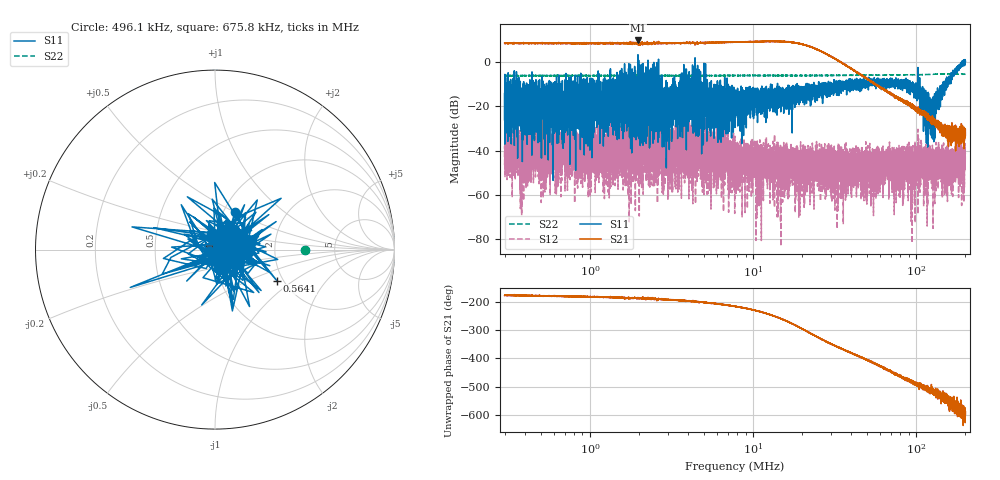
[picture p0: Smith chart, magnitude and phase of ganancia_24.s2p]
# Hz S DB R 50
! CMT, M5065, 19127446, 24.2.4/2
! Date: 11/1/2024 3:26:24 PM
! Data: Format (Calibration Info)
! Freq	S11:dB/Ang(F2)	S21:dB/Ang(F2)	S12:dB/Ang(F2)	S22:dB/Ang(F2)
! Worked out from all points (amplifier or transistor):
!   9000 points, 300 kHz to 200 MHz, reference 50 ohm
!   highest |S21| = 9.9 dB at 1.969 MHz (marker M1)
!   |S21| within 3 dB of that: start of sweep to 22.48 MHz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
!   unconditionally stable (mu >= 1): start of sweep to 1.968 MHz; 2.634 MHz to 4.405 MHz; 4.41 MHz to 190 MHz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
!   at 886.8 kHz: K = 12.32, MAG = 9.8 dB, |S12| = -38.9 dB
!   at 7.749 MHz: K = 10.01, MAG = 10.5 dB, |S12| = -37.8 dB
!   at 200 MHz: K = -188.18, MSG = 3.9 dB, |S12| = -40.9 dB
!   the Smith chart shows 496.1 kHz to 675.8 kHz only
!   S11 on the Smith chart (normalised r, x): 496.1 kHz: 1.13, +0.51; 564.1 kHz: 1.85, -0.76; 675.8 kHz: 1.31, -0.03
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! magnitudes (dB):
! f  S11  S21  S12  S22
! 300 kHz  -14.1  8.7  -46.5  -6.0
! 352.7 kHz  -13.6  8.7  -31.1  -6.1
! 385.2 kHz  -17.8  8.6  -41.4  -6.1
! 496.1 kHz  -12.4  8.6  -38.6  -6.0
! 564.1 kHz  -8.3  8.4  -34.5  -6.1
! 675.8 kHz  -17.4  8.6  -46.2  -6.0
! 886.8 kHz  -28.7  8.6  -38.9  -6.1
! 1.051 MHz  -17.9  8.5  -33.0  -6.0
! 1.1 MHz  -9.1  8.6  -37.4  -6.0
! 1.969 MHz  3.4  9.9  -39.3  -6.1
! 2.621 MHz  -22.7  8.7  -55.7  -6.1
! 2.973 MHz  -14.9  8.6  -48.1  -6.1
! 4.602 MHz  -21.8  8.8  -36.6  -6.0
! 5.376 MHz  -21.4  9.0  -47.6  -6.0
! 7.749 MHz  -20.7  9.1  -37.8  -5.9
! 22.91 MHz  -10.1  6.8  -47.3  -6.0
! 67.71 MHz  -8.9  -13.8  -46.7  -5.7
! 100.7 MHz  -14.3  -21.0  -52.7  -5.6
! 125.9 MHz  -34.7  -27.9  -45.0  -5.4
! 150.4 MHz  -9.8  -28.0  -42.7  -5.3
! 191.7 MHz  0.7  -28.6  -45.6  -5.4
! 200 MHz  0.4  -33.1  -40.9  -5.4
